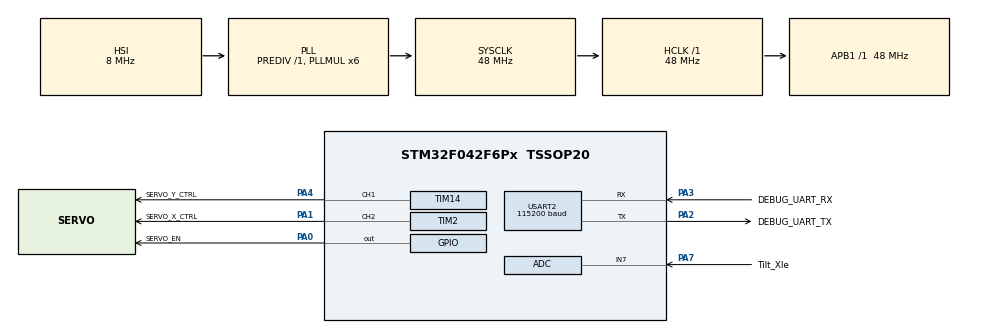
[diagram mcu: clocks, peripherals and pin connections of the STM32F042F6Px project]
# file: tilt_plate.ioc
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ADC.ContinuousConvMode=ENABLE
ADC.SamplingTime=ADC_SAMPLETIME_71CYCLES_5
Mcu.Family=STM32F0
Mcu.Name=STM32F042F6Px
Mcu.Package=TSSOP20
PA0.GPIO_Label=SERVO_EN
PA0.GPIO_Speed=GPIO_SPEED_FREQ_LOW
PA0.PinState=GPIO_PIN_RESET
PA0.Signal=GPIO_Output
PA1.GPIO_Label=SERVO_X_CTRL
PA1.GPIO_Speed=GPIO_SPEED_FREQ_HIGH
PA1.Signal=S_TIM2_CH2
PA2.GPIO_Label=DEBUG_UART_TX
PA2.Mode=Asynchronous
PA2.Signal=USART2_TX
PA3.GPIO_Label=DEBUG_UART_RX
PA3.Mode=Asynchronous
PA3.Signal=USART2_RX
PA4.GPIO_Label=SERVO_Y_CTRL
PA4.GPIO_Speed=GPIO_SPEED_FREQ_HIGH
PA4.Signal=S_TIM14_CH1
PA5.GPIO_Label=Tilt_Yup
PA5.Signal=ADC_IN5
PA6.GPIO_Label=Tilt_Ydown
PA6.Signal=ADC_IN6
PA7.GPIO_Label=Tilt_Xle
PA7.Mode=IN7
PA7.Signal=ADC_IN7
PB1.GPIO_Label=Tilt_Xri
PB1.Signal=ADC_IN9
ProjectManager.HeapSize=0x200
ProjectManager.StackSize=0x400
ProjectManager.TargetToolchain=STM32CubeIDE
RCC.AHBFreq_Value=48000000
RCC.APB1Freq_Value=48000000
RCC.APB1TimFreq_Value=48000000
RCC.HCLKFreq_Value=48000000
RCC.PLLMUL=RCC_PLL_MUL6
RCC.SYSCLKFreq_VALUE=48000000
RCC.SYSCLKSource=RCC_SYSCLKSOURCE_PLLCLK
SH.S_TIM14_CH1.0=TIM14_CH1,PWM Generation1 CH1
SH.S_TIM2_CH2.0=TIM2_CH2,PWM Generation2 CH2
TIM14.Channel=TIM_CHANNEL_1
TIM14.Period=20000-1
TIM14.Prescaler=48-1
TIM16.Prescaler=48-1
TIM2.Channel-PWM\ Generation2\ CH2=TIM_CHANNEL_2
TIM2.Period=20000-1
TIM2.Prescaler=48-1
USART2.BaudRate=115200
USART2.VirtualMode-Asynchronous=VM_ASYNC
VP_SYS_VS_PINREMAP.Mode=PINREMAP
VP_TIM14_VS_ClockSourceINT.Mode=Enable_Timer
VP_TIM16_VS_ClockSourceINT.Mode=Enable_Timer
board=custom

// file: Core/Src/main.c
/* USER CODE BEGIN Header */
/**
  ******************************************************************************
  * @file           : main.c
  * @brief          : Main program body
  ******************************************************************************
  * @attention
  *
  * Copyright (c) 2026 STMicroelectronics.
  * All rights reserved.
  *
  * This software is licensed under terms that can be found in the LICENSE file
  * in the root directory of this software component.
  * If no LICENSE file comes with this software, it is provided AS-IS.
  *
  ******************************************************************************
  */
/* USER CODE END Header */
#include "main.h"

/* USER CODE BEGIN Includes */
#include "tilt_ctrl.h"
#include "stdio.h"
#include "stdlib.h"
#include "math.h"

/* USER CODE END Includes */

/* USER CODE BEGIN PD */
#define DEBUG_MODE		0

/* USER CODE END PD */

ADC_HandleTypeDef hadc;

TIM_HandleTypeDef htim2;
TIM_HandleTypeDef htim14;
TIM_HandleTypeDef htim16;

UART_HandleTypeDef huart2;

void SystemClock_Config(void);
static void MX_GPIO_Init(void);
static void MX_ADC_Init(void);
static void MX_TIM16_Init(void);
static void MX_USART2_UART_Init(void);
static void MX_TIM2_Init(void);
static void MX_TIM14_Init(void);

/* USER CODE BEGIN 0 */
void delay_us(uint16_t us)
{
	__HAL_TIM_SET_COUNTER(&htim16, 0);
	while (__HAL_TIM_GET_COUNTER(&htim16) < us);
}

static int constrain(int value, int min, int max)
{
	if (value < min)
	{
		return min;
	}
	else if (value > max)
	{
		return max;
	}
	else
	{
		return value;
	}
}

/* USER CODE END 0 */

int main(void)
{

  /* USER CODE BEGIN 1 */
#if (DEBUG_MODE != 0)
	int temp_tilt = 0;
	uint8_t tx_buf[100] = {0};
	int len = 0;
#endif

	uint32_t last_loop_time;

  /* USER CODE END 1 */

  /* MCU Configuration--------------------------------------------------------*/

  /* Reset of all peripherals, Initializes the Flash interface and the Systick. */
  HAL_Init();

  /* Configure the system clock */
  SystemClock_Config();

  /* Initialize all configured peripherals */
  MX_GPIO_Init();
  MX_ADC_Init();
  MX_TIM16_Init();
  MX_USART2_UART_Init();
  MX_TIM2_Init();
  MX_TIM14_Init();
  /* USER CODE BEGIN 2 */
  last_loop_time = HAL_GetTick();

  // Enable timer for us delays
  HAL_TIM_Base_Start(&htim16);

  //Enable PWM signal for X Servo Motor Control, then set tilt table to default X position
  HAL_TIM_PWM_Start(&htim2, TIM_CHANNEL_2);
  tilt_x_set_position(TILT_X_SERVO_CENTER);

  //Enable PWM signal for Y Servo Motor Control, then set tilt table to default Y position
  HAL_TIM_PWM_Start(&htim14, TIM_CHANNEL_1);
  tilt_y_set_position(TILT_Y_SERVO_CENTER);

  /* USER CODE END 2 */

  /* Infinite loop */
  /* USER CODE BEGIN WHILE */
  while (1)
  {
#if (DEBUG_MODE != 0)
	  temp_tilt = read_tilt_x_position();
	  len = snprintf((char *)tx_buf, sizeof(tx_buf), "X: %d         ", temp_tilt);
	  HAL_UART_Transmit(&huart2, tx_buf, len, 1000);

	  temp_tilt = read_tilt_y_position();
	  len = snprintf((char *)tx_buf, sizeof(tx_buf), "Y: %d\n", temp_tilt);
	  HAL_UART_Transmit(&huart2, tx_buf, len, 1000);
	  HAL_Delay(500);
#endif
    /* USER CODE END WHILE */

    /* USER CODE BEGIN 3 */

#if 1
	  //100Hz control loop
	  if ((HAL_GetTick() - last_loop_time) < LOOP_PERIOD_MS)
	  {
		  //Wait until LOOP_PERIOD_MS (10ms) has passed
		  continue;
	  }
	  last_loop_time = HAL_GetTick();

	  // Fixed dt in seconds
	  const float dt = LOOP_PERIOD_MS / 1000.0;

	  // Raw reads
	  int raw_x = read_tilt_x_position();
	  int raw_y = read_tilt_y_position();

	  // Start fitlered values as raw
	  int filtered_x = raw_x;
	  int filtered_y = raw_y;

	  // Ensure x and y values are within accepted ranges
	  bool x_range_valid = x_reading_in_range(raw_x);
	  bool y_range_valid = y_reading_in_range(raw_y);

	  // Check if values jump (commonly caused by ball not having enough pressure, i.e. unreliable contact -> jump in reading)
	  bool x_jump_valid = (abs(raw_x - last_good_x) <= X_MAX_STEP);
	  bool y_jump_valid = (abs(raw_y - last_good_y) <= Y_MAX_STEP);

	  // If ball has been picked up and placed, set as new position
	  if (ball_bad_read_count >= BALL_BAD_READ_THRESHOLD)
	  {
		  x_jump_valid = true;
		  y_jump_valid = true;
		  integral_x = 0.0;
		  integral_y = 0.0;
	  }

	  bool good_read = (x_range_valid && x_jump_valid) && (y_range_valid && y_jump_valid);

	  /*** Sensor filtering ***/
	  if (good_read)
	  {
		  //If read is valid, set good x and y points as current raw values
		  last_good_x = raw_x;
		  last_good_y = raw_y;
		  ball_bad_read_count = 0;
	  }
	  else
	  {
		  //Else set filtered x and y to the previous good read point
		  filtered_x = last_good_x;
		  filtered_y = last_good_y;
	  }

	  /*** PID ***/
	  float error_x = setpoint_x_position - filtered_x;
	  float error_y = setpoint_y_position - filtered_y;

	  // Integral term - only accumulates within an active band
	  // No zero reset near set point so accumulated values holds against steady state bias
	  if (good_read && fabsf(error_x) <= INTEGRAL_ACTIVE_BAND)
	  {
		  integral_x += error_x * dt;
	  }
	  if (good_read && fabsf(error_y) <= INTEGRAL_ACTIVE_BAND)
	  {
		  integral_y += error_y * dt;
	  }

	  // Anti windup clamp
	  if (integral_x > INTEGRAL_LIMIT_X) integral_x = INTEGRAL_LIMIT_X;
	  if (integral_x < -INTEGRAL_LIMIT_X) integral_x = -INTEGRAL_LIMIT_X;
	  if (integral_y > INTEGRAL_LIMIT_Y) integral_y = INTEGRAL_LIMIT_Y;
	  if (integral_y < -INTEGRAL_LIMIT_Y) integral_y = -INTEGRAL_LIMIT_Y;

	  // Derivative term - low pass filtered to reduce noise spikes
	  float raw_dx = (error_x - last_error_x) / dt;
	  float raw_dy = (error_y - last_error_y) / dt;

	  // Low pass filter
	  derivative_x = D_FILTER_ALPHA * raw_dx + (1.0 - D_FILTER_ALPHA) * derivative_x;
	  derivative_y = D_FILTER_ALPHA * raw_dy + (1.0 - D_FILTER_ALPHA) * derivative_y;

	  /***** PID Output *****/
	  float output_x = (KpX * error_x) + (KiX * integral_x) + (KdX * derivative_x);
	  float output_y = (KpY * error_y) + (KiY * integral_y) + (KdY * derivative_y);

	  //Save errors for next loop
	  last_error_x = error_x;
	  last_error_y = error_y;

	  //Servo commands
	  int x_servo_cmd = (TILT_X_SERVO_CENTER - output_x);
	  int y_servo_cmd = (TILT_Y_SERVO_CENTER - output_y);

	  x_servo_cmd = constrain(x_servo_cmd, TILT_X_SERVO_MIN, TILT_X_SERVO_MAX);
	  y_servo_cmd = constrain(y_servo_cmd, TILT_Y_SERVO_MIN, TILT_Y_SERVO_MAX);

	  tilt_x_set_position(x_servo_cmd);
	  tilt_y_set_position(y_servo_cmd);

	  if (!good_read)
	  {
		  ball_bad_read_count++;
	  }

#endif

  }
  /* USER CODE END 3 */
}

void SystemClock_Config(void)
{
  RCC_OscInitTypeDef RCC_OscInitStruct = {0};
  RCC_ClkInitTypeDef RCC_ClkInitStruct = {0};

  /** Initializes the RCC Oscillators according to the specified parameters
  * in the RCC_OscInitTypeDef structure.
  */
  RCC_OscInitStruct.OscillatorType = RCC_OSCILLATORTYPE_HSI|RCC_OSCILLATORTYPE_HSI14;
  RCC_OscInitStruct.HSIState = RCC_HSI_ON;
  RCC_OscInitStruct.HSI14State = RCC_HSI14_ON;
  RCC_OscInitStruct.HSICalibrationValue = RCC_HSICALIBRATION_DEFAULT;
  RCC_OscInitStruct.HSI14CalibrationValue = 16;
  RCC_OscInitStruct.PLL.PLLState = RCC_PLL_ON;
  RCC_OscInitStruct.PLL.PLLSource = RCC_PLLSOURCE_HSI;
  RCC_OscInitStruct.PLL.PLLMUL = RCC_PLL_MUL6;
  RCC_OscInitStruct.PLL.PREDIV = RCC_PREDIV_DIV1;
  if (HAL_RCC_OscConfig(&RCC_OscInitStruct) != HAL_OK)
  {
    Error_Handler();
  }

  /** Initializes the CPU, AHB and APB buses clocks
  */
  RCC_ClkInitStruct.ClockType = RCC_CLOCKTYPE_HCLK|RCC_CLOCKTYPE_SYSCLK
                              |RCC_CLOCKTYPE_PCLK1;
  RCC_ClkInitStruct.SYSCLKSource = RCC_SYSCLKSOURCE_PLLCLK;
  RCC_ClkInitStruct.AHBCLKDivider = RCC_SYSCLK_DIV1;
  RCC_ClkInitStruct.APB1CLKDivider = RCC_HCLK_DIV1;

  if (HAL_RCC_ClockConfig(&RCC_ClkInitStruct, FLASH_LATENCY_1) != HAL_OK)
  {
    Error_Handler();
  }
}

static void MX_ADC_Init(void)
{

  ADC_ChannelConfTypeDef sConfig = {0};

  /** Configure the global features of the ADC (Clock, Resolution, Data Alignment and number of conversion)
  */
  hadc.Instance = ADC1;
  hadc.Init.ClockPrescaler = ADC_CLOCK_ASYNC_DIV1;
  hadc.Init.Resolution = ADC_RESOLUTION_12B;
  hadc.Init.DataAlign = ADC_DATAALIGN_RIGHT;
  hadc.Init.ScanConvMode = ADC_SCAN_DIRECTION_FORWARD;
  hadc.Init.EOCSelection = ADC_EOC_SINGLE_CONV;
  hadc.Init.LowPowerAutoWait = DISABLE;
  hadc.Init.LowPowerAutoPowerOff = DISABLE;
  hadc.Init.ContinuousConvMode = ENABLE;
  hadc.Init.DiscontinuousConvMode = DISABLE;
  hadc.Init.ExternalTrigConv = ADC_SOFTWARE_START;
  hadc.Init.ExternalTrigConvEdge = ADC_EXTERNALTRIGCONVEDGE_NONE;
  hadc.Init.DMAContinuousRequests = DISABLE;
  hadc.Init.Overrun = ADC_OVR_DATA_PRESERVED;
  if (HAL_ADC_Init(&hadc) != HAL_OK)
  {
    Error_Handler();
  }

  /** Configure for the selected ADC regular channel to be converted.
  */
  sConfig.Channel = ADC_CHANNEL_7;
  sConfig.Rank = ADC_RANK_CHANNEL_NUMBER;
  sConfig.SamplingTime = ADC_SAMPLETIME_71CYCLES_5;
  if (HAL_ADC_ConfigChannel(&hadc, &sConfig) != HAL_OK)
  {
    Error_Handler();
  }

}

static void MX_TIM2_Init(void)
{

  TIM_MasterConfigTypeDef sMasterConfig = {0};
  TIM_OC_InitTypeDef sConfigOC = {0};

  htim2.Instance = TIM2;
  htim2.Init.Prescaler = 48-1;
  htim2.Init.CounterMode = TIM_COUNTERMODE_UP;
  htim2.Init.Period = 20000-1;
  htim2.Init.ClockDivision = TIM_CLOCKDIVISION_DIV1;
  htim2.Init.AutoReloadPreload = TIM_AUTORELOAD_PRELOAD_DISABLE;
  if (HAL_TIM_PWM_Init(&htim2) != HAL_OK)
  {
    Error_Handler();
  }
  sMasterConfig.MasterOutputTrigger = TIM_TRGO_RESET;
  sMasterConfig.MasterSlaveMode = TIM_MASTERSLAVEMODE_DISABLE;
  if (HAL_TIMEx_MasterConfigSynchronization(&htim2, &sMasterConfig) != HAL_OK)
  {
    Error_Handler();
  }
  sConfigOC.OCMode = TIM_OCMODE_PWM1;
  sConfigOC.Pulse = 0;
  sConfigOC.OCPolarity = TIM_OCPOLARITY_HIGH;
  sConfigOC.OCFastMode = TIM_OCFAST_DISABLE;
  if (HAL_TIM_PWM_ConfigChannel(&htim2, &sConfigOC, TIM_CHANNEL_2) != HAL_OK)
  {
    Error_Handler();
  }
  HAL_TIM_MspPostInit(&htim2);

}

static void MX_TIM14_Init(void)
{

  TIM_OC_InitTypeDef sConfigOC = {0};

  htim14.Instance = TIM14;
  htim14.Init.Prescaler = 48-1;
  htim14.Init.CounterMode = TIM_COUNTERMODE_UP;
  htim14.Init.Period = 20000-1;
  htim14.Init.ClockDivision = TIM_CLOCKDIVISION_DIV1;
  htim14.Init.AutoReloadPreload = TIM_AUTORELOAD_PRELOAD_DISABLE;
  if (HAL_TIM_Base_Init(&htim14) != HAL_OK)
  {
    Error_Handler();
  }
  if (HAL_TIM_PWM_Init(&htim14) != HAL_OK)
  {
    Error_Handler();
  }
  sConfigOC.OCMode = TIM_OCMODE_PWM1;
  sConfigOC.Pulse = 0;
  sConfigOC.OCPolarity = TIM_OCPOLARITY_HIGH;
  sConfigOC.OCFastMode = TIM_OCFAST_DISABLE;
  if (HAL_TIM_PWM_ConfigChannel(&htim14, &sConfigOC, TIM_CHANNEL_1) != HAL_OK)
  {
    Error_Handler();
  }
  HAL_TIM_MspPostInit(&htim14);

}

static void MX_TIM16_Init(void)
{

  htim16.Instance = TIM16;
  htim16.Init.Prescaler = 48-1;
  htim16.Init.CounterMode = TIM_COUNTERMODE_UP;
  htim16.Init.Period = 65535;
  htim16.Init.ClockDivision = TIM_CLOCKDIVISION_DIV1;
  htim16.Init.RepetitionCounter = 0;
  htim16.Init.AutoReloadPreload = TIM_AUTORELOAD_PRELOAD_DISABLE;
  if (HAL_TIM_Base_Init(&htim16) != HAL_OK)
  {
    Error_Handler();
  }

}

static void MX_USART2_UART_Init(void)
{

  huart2.Instance = USART2;
  huart2.Init.BaudRate = 115200;
  huart2.Init.WordLength = UART_WORDLENGTH_8B;
  huart2.Init.StopBits = UART_STOPBITS_1;
  huart2.Init.Parity = UART_PARITY_NONE;
  huart2.Init.Mode = UART_MODE_TX_RX;
  huart2.Init.HwFlowCtl = UART_HWCONTROL_NONE;
  huart2.Init.OverSampling = UART_OVERSAMPLING_16;
  huart2.Init.OneBitSampling = UART_ONE_BIT_SAMPLE_DISABLE;
  huart2.AdvancedInit.AdvFeatureInit = UART_ADVFEATURE_NO_INIT;
  if (HAL_UART_Init(&huart2) != HAL_OK)
  {
    Error_Handler();
  }

}

static void MX_GPIO_Init(void)
{
  GPIO_InitTypeDef GPIO_InitStruct = {0};

  /* GPIO Ports Clock Enable */
  __HAL_RCC_GPIOA_CLK_ENABLE();
  __HAL_RCC_GPIOB_CLK_ENABLE();

  /*Configure GPIO pin Output Level */
  HAL_GPIO_WritePin(SERVO_EN_GPIO_Port, SERVO_EN_Pin, GPIO_PIN_RESET);

  /*Configure GPIO pin : SERVO_EN_Pin */
  GPIO_InitStruct.Pin = SERVO_EN_Pin;
  GPIO_InitStruct.Mode = GPIO_MODE_OUTPUT_PP;
  GPIO_InitStruct.Pull = GPIO_NOPULL;
  GPIO_InitStruct.Speed = GPIO_SPEED_FREQ_LOW;
  HAL_GPIO_Init(SERVO_EN_GPIO_Port, &GPIO_InitStruct);

}

void Error_Handler(void)
{
  __disable_irq();
  while (1)
  {
  }
}
